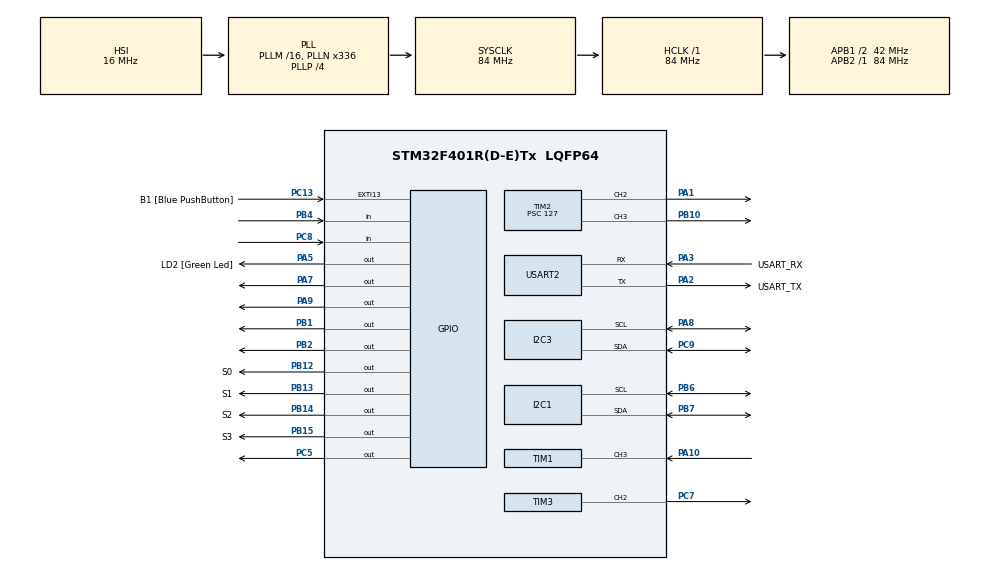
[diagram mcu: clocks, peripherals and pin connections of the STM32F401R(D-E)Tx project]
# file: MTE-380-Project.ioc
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I2C1.I2C_Mode=I2C_Standard
Mcu.Family=STM32F4
Mcu.Name=STM32F401R(D-E)Tx
Mcu.Package=LQFP64
NVIC.PriorityGroup=NVIC_PRIORITYGROUP_0
PA1.Signal=S_TIM2_CH2
PA10.Signal=S_TIM1_CH3
PA13.GPIO_Label=TMS
PA13.Mode=Serial_Wire
PA13.Signal=SYS_JTMS-SWDIO
PA14.GPIO_Label=TCK
PA14.Mode=Serial_Wire
PA14.Signal=SYS_JTCK-SWCLK
PA2.GPIO_Label=USART_TX
PA2.GPIO_Mode=GPIO_MODE_AF_PP
PA2.GPIO_PuPd=GPIO_NOPULL
PA2.GPIO_Speed=GPIO_SPEED_FREQ_LOW
PA2.Mode=Asynchronous
PA2.Signal=USART2_TX
PA3.GPIO_Label=USART_RX
PA3.GPIO_Mode=GPIO_MODE_AF_PP
PA3.GPIO_PuPd=GPIO_NOPULL
PA3.GPIO_Speed=GPIO_SPEED_FREQ_LOW
PA3.Mode=Asynchronous
PA3.Signal=USART2_RX
PA5.GPIO_Label=LD2 [Green Led]
PA5.GPIO_Mode=GPIO_MODE_OUTPUT_PP
PA5.GPIO_PuPd=GPIO_NOPULL
PA5.GPIO_Speed=GPIO_SPEED_FREQ_LOW
PA5.Signal=GPIO_Output
PA7.Signal=GPIO_Output
PA8.Mode=I2C
PA8.Signal=I2C3_SCL
PA9.Signal=GPIO_Output
PB1.Signal=GPIO_Output
PB10.Signal=S_TIM2_CH3
PB12.GPIO_Label=S0
PB12.Signal=GPIO_Output
PB13.GPIO_Label=S1
PB13.Signal=GPIO_Output
PB14.GPIO_Label=S2
PB14.Signal=GPIO_Output
PB15.GPIO_Label=S3
PB15.Signal=GPIO_Output
PB2.Signal=GPIO_Output
PB3.GPIO_Label=SWO
PB3.Signal=SYS_JTDO-SWO
PB4.Signal=GPIO_Input
PB6.Mode=I2C
PB6.Signal=I2C1_SCL
PB7.Mode=I2C
PB7.Signal=I2C1_SDA
PC13-ANTI_TAMP.GPIO_Label=B1 [Blue PushButton]
PC13-ANTI_TAMP.GPIO_ModeDefaultEXTI=GPIO_MODE_IT_FALLING
PC13-ANTI_TAMP.GPIO_PuPd=GPIO_NOPULL
PC13-ANTI_TAMP.Signal=GPXTI13
PC14-OSC32_IN.Mode=LSE-External-Oscillator
PC14-OSC32_IN.Signal=RCC_OSC32_IN
PC15-OSC32_OUT.Mode=LSE-External-Oscillator
PC15-OSC32_OUT.Signal=RCC_OSC32_OUT
PC5.Signal=GPIO_Output
PC7.Signal=S_TIM3_CH2
PC8.Signal=GPIO_Input
PC9.Mode=I2C
PC9.Signal=I2C3_SDA
PH0\ -\ OSC_IN.Mode=HSE-External-Clock-Source
PH0\ -\ OSC_IN.Signal=RCC_OSC_IN
PH1\ -\ OSC_OUT.Mode=HSE-External-Clock-Source
PH1\ -\ OSC_OUT.Signal=RCC_OSC_OUT
ProjectManager.HeapSize=0x200
ProjectManager.StackSize=0x400
ProjectManager.TargetToolchain=STM32CubeIDE
RCC.48MHZClocksFreq_Value=48000000
RCC.AHBFreq_Value=84000000
RCC.APB1CLKDivider=RCC_HCLK_DIV2
RCC.APB1Freq_Value=42000000
RCC.APB1TimFreq_Value=84000000
RCC.APB2Freq_Value=84000000
RCC.APB2TimFreq_Value=84000000
RCC.CortexFreq_Value=84000000
RCC.HCLKFreq_Value=84000000
RCC.HSE_VALUE=8000000
RCC.HSI_VALUE=16000000
RCC.PLLN=336
RCC.PLLP=RCC_PLLP_DIV4
RCC.PLLQ=7
RCC.SYSCLKFreq_VALUE=84000000
RCC.SYSCLKSource=RCC_SYSCLKSOURCE_PLLCLK
RCC.VCOOutputFreq_Value=336000000
SH.S_TIM1_CH3.0=TIM1_CH3,Input_Capture3_from_TI3
SH.S_TIM2_CH2.0=TIM2_CH2,PWM Generation2 CH2
SH.S_TIM2_CH3.0=TIM2_CH3,PWM Generation3 CH3
SH.S_TIM3_CH2.0=TIM3_CH2,PWM Generation2 CH2
TIM1.Channel-Input_Capture3_from_TI3=TIM_CHANNEL_3
TIM2.Channel-PWM\ Generation2\ CH2=TIM_CHANNEL_2
TIM2.Channel-PWM\ Generation3\ CH3=TIM_CHANNEL_3
TIM2.Period=625
TIM2.Prescaler=127
TIM3.Channel-PWM\ Generation2\ CH2=TIM_CHANNEL_2
TIM3.Period=19999
TIM3.Prescaler=83
TIM4.Prescaler=71
USART2.VirtualMode=VM_ASYNC
VP_TIM1_VS_ClockSourceITR.Mode=TriggerSource_ITR1
VP_TIM1_VS_ControllerModeClock.Mode=Clock Mode
VP_TIM4_VS_ClockSourceINT.Mode=Internal
board=NUCLEO-F401RE

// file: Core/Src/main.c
/* USER CODE BEGIN Header */
/**
  ******************************************************************************
  * @file           : main.c
  * @brief          : Main program body
  ******************************************************************************
  * @attention
  *
  * Copyright (c) 2023 STMicroelectronics.
  * All rights reserved.
  *
  * This software is licensed under terms that can be found in the LICENSE file
  * in the root directory of this software component.
  * If no LICENSE file comes with this software, it is provided AS-IS.
  *
  ******************************************************************************
  */
/* USER CODE END Header */
#include "main.h"

/* USER CODE BEGIN Includes */
#include "main.h"

#include "TCS34725.h"
#include "L298N.h"
#include "SG90.h"
#include "HCSR04.h"
// Define P controller constant
#define KP 3
#define KD 15
#define KI 0.02
// Define target values

#define TARGET_SPEED_LEFT 40 // Default: 45   RATIO is 12
#define TARGET_SPEED_RIGHT 48 // Default: 53

int target_speed_left = 40;
int target_speed_right = 48;

int control_signal = 0;
int count = 0;
float error = 0;
int left_speed = 0, right_speed = 0;
int slowed = 0;
uint32_t diff = 0;
/* USER CODE END Includes */

I2C_HandleTypeDef hi2c1;
I2C_HandleTypeDef hi2c3;

TIM_HandleTypeDef htim1;
TIM_HandleTypeDef htim2;
TIM_HandleTypeDef htim3;
TIM_HandleTypeDef htim4;

UART_HandleTypeDef huart2;

/* USER CODE BEGIN PV */

PID_Controller_HandleTypeDef pid;
PID_Controller_HandleTypeDef pid2;

TCS34725_HandleTypeDef rgb_sensor_left;
TCS34725_HandleTypeDef rgb_sensor_right;

L298N_HandleTypeDef motor_driver;

SG90_HandleTypeDef gripper_servo;

HCSR04_HandleTypeDef ultrasonic_sensor;

/* USER CODE END PV */

void SystemClock_Config(void);
static void MX_GPIO_Init(void);
static void MX_USART2_UART_Init(void);
static void MX_TIM1_Init(void);
static void MX_I2C1_Init(void);
static void MX_I2C3_Init(void);
static void MX_TIM2_Init(void);
static void MX_TIM3_Init(void);
static void MX_TIM4_Init(void);

/* USER CODE BEGIN 0 */

float getError() {

	HAL_StatusTypeDef status1 = tcs34725_get_data(&rgb_sensor_left, &hi2c1);
    HAL_StatusTypeDef status2 = tcs34725_get_data(&rgb_sensor_right, &hi2c3);

	if (status1 != HAL_OK || status2 != HAL_OK) {
		HAL_GPIO_WritePin(GPIOA, LD2_Pin, GPIO_PIN_SET);
	}

    // Calculate the error based on the difference between sensor readings
    error = (rgb_sensor_left.r_ratio - rgb_sensor_right.r_ratio) * 100;

    return error;
}

void PID_Controller(PID_Controller_HandleTypeDef *pid) {
    // Get the proportional error
    float error = getError();

    // Calculate the control signal
    float proportional = KP * error;
    float integral = KI * (error + pid->integral);
    float derivative = KD * (error - pid->previous_error);

    // Calculate control signal
    control_signal = (int)(proportional + derivative + integral);

    // Update PID values for next iteration
    pid->previous_error = error;
    pid->integral += error;

    count++;

    if(count > 10) {
    	pid->integral = 0;
    	count = 0;
    }

    // Adjust motor speeds based on control signal

    // Line is to the right, turn left
    left_speed = target_speed_left - control_signal;
    right_speed = target_speed_right + control_signal;

    if (left_speed > 100) {
    	left_speed = 100;
    }

    if (left_speed < 0) {
    	left_speed = 0;
    }

    if (right_speed > 100) {
    	right_speed = 100;
    }

    if (right_speed < 0) {
    	right_speed = 0;
    }

    // Apply control to motors
    l298n_drive_forward(&motor_driver, &htim2, left_speed, right_speed);

}

// what if we add another function same as PID so when that starts that runs and that has a timer which will open the gripper when haltick matches our req.

/* USER CODE END 0 */

int main(void)
{

  /* MCU Configuration--------------------------------------------------------*/

  /* Reset of all peripherals, Initializes the Flash interface and the Systick. */
  HAL_Init();

  /* Configure the system clock */
  SystemClock_Config();

  /* Initialize all configured peripherals */
  MX_GPIO_Init();
  MX_USART2_UART_Init();
  MX_TIM1_Init();
  MX_I2C1_Init();
  MX_I2C3_Init();
  MX_TIM2_Init();
  MX_TIM3_Init();
  MX_TIM4_Init();
  /* USER CODE BEGIN 2 */

  tcs34725_get_device_id(&rgb_sensor_left, &hi2c1);
  tcs34725_get_device_id(&rgb_sensor_right, &hi2c3);

  tcs34725_set_enable_reg(&rgb_sensor_left, &hi2c1);
  tcs34725_set_enable_reg(&rgb_sensor_right, &hi2c3);

  tcs34725_set_timing_reg(&rgb_sensor_left, &hi2c1);
  tcs34725_set_timing_reg(&rgb_sensor_right, &hi2c3);

  l298n_init(&htim2);

  sg90_init(&htim3);

  hcsr04_init(&htim4);

  /* USER CODE END 2 */

  /* Infinite loop */
  /* USER CODE BEGIN WHILE */

  while(HAL_GPIO_ReadPin(GPIOC, B1_Pin));

  sg90_open(&gripper_servo, &htim3);

  HAL_Delay(1000);

  uint32_t start_time = HAL_GetTick();

  l298n_drive_forward(&motor_driver, &htim2, 100, 100);

  while (1)
  {

	  PID_Controller(&pid);

	  if (HAL_GetTick() - start_time > 7000 && slowed == 0) {

		  target_speed_left = 33;
		  target_speed_right = 40;

		  slowed = 1;
	  }

	  if ((rgb_sensor_left.b_ratio > rgb_sensor_left.g_ratio || rgb_sensor_right.b_ratio > rgb_sensor_right.g_ratio) && (rgb_sensor_left.b_ratio > rgb_sensor_left.r_ratio || rgb_sensor_right.b_ratio > rgb_sensor_right.r_ratio)) {

		  l298n_brake(&motor_driver);
		  HAL_Delay(10);

		  //First reverse after detecting blue
		  l298n_drive_reverse(&motor_driver, &htim2, 100, 100);
		  HAL_Delay(30);

		  l298n_drive_reverse(&motor_driver, &htim2, TARGET_SPEED_LEFT, TARGET_SPEED_RIGHT);
		  HAL_Delay(550);

		  l298n_brake(&motor_driver);
		  HAL_Delay(10);

		  hcsr04_get_distance(&ultrasonic_sensor, &htim3);

		  int counter = 0;

		  // 17 or 18 depending on your mood

		  while(!(ultrasonic_sensor.distance >= WALL_TURN_DISTANCE_MIN &&
				  ultrasonic_sensor.distance <= WALL_TURN_DISTANCE_MAX && counter >= 18)){

			  l298n_rotate_counter(&motor_driver, &htim2, 100, 100);
		      HAL_Delay(30);

		      l298n_rotate_counter(&motor_driver, &htim2, 40, 48);
		      HAL_Delay(50);

		      l298n_brake(&motor_driver);
		      HAL_Delay(250);

		      counter += 1;

			  hcsr04_get_distance(&ultrasonic_sensor, &htim3);

		  }

		  l298n_brake(&motor_driver);

		  HAL_Delay(10);

		  while (ultrasonic_sensor.distance > 21) {

			  l298n_drive_reverse(&motor_driver, &htim2, 100, 100);
			  HAL_Delay(30);

			  l298n_drive_reverse(&motor_driver, &htim2, 40, 48);
			  HAL_Delay(50);

			  l298n_brake(&motor_driver);
			  HAL_Delay(250);

			  hcsr04_get_distance(&ultrasonic_sensor, &htim3);
		  }

		  l298n_brake(&motor_driver);

		  HAL_Delay(10);

		  sg90_close(&gripper_servo, &htim3);

		  HAL_Delay(10);

		  l298n_drive_forward(&motor_driver, &htim2, 100, 100);
		  HAL_Delay(30);

		  l298n_drive_forward(&motor_driver, &htim2, 40, 48);
		  HAL_Delay(430);

		  l298n_brake(&motor_driver);

		  for (int i = 0; i < 10; i++) {

			  l298n_rotate_counter(&motor_driver, &htim2, 100, 100);
			  HAL_Delay(30);

			  l298n_rotate_counter(&motor_driver, &htim2, 40, 48);
			  HAL_Delay(50);

			  l298n_brake(&motor_driver);
			  HAL_Delay(250);
		  }

		  l298n_drive_reverse(&motor_driver, &htim2, 100, 100);
		  HAL_Delay(30);

		  l298n_drive_reverse(&motor_driver, &htim2, 40, 48);
		  HAL_Delay(800);

		  l298n_brake(&motor_driver);

		  HAL_Delay(10);

		  sg90_open(&gripper_servo, &htim3);

		  HAL_Delay(100);

		  l298n_drive_forward(&motor_driver, &htim2, 100, 100);
		  HAL_Delay(50);

		  l298n_drive_forward(&motor_driver, &htim2, 40, 48);
		  HAL_Delay(700);

//		  while (!(rgb_sensor_left.r_ratio > 0.45 || rgb_sensor_right.r_ratio > 0.45)) {
//
//			  tcs34725_get_data(&rgb_sensor_left, &hi2c1);
//			  tcs34725_get_data(&rgb_sensor_right, &hi2c3);
//		  }

		  l298n_brake(&motor_driver);

		  HAL_Delay(200);

		  l298n_rotate_clockwise(&motor_driver, &htim2, 100, 100);
		  HAL_Delay(30);

		  l298n_rotate_clockwise(&motor_driver, &htim2, 40, 48);
		  HAL_Delay(150);

		  l298n_brake(&motor_driver);

		  HAL_Delay(500);

		  target_speed_left = 40;
		  target_speed_right = 48;

		  continue;

//		  l298n_brake(&motor_driver);
//
//		  HAL_Delay(300);
//
//		  //first reverse after detecting blue
//
//		  l298n_drive_reverse(&motor_driver, &htim2, 100, 100);
//
//		  HAL_Delay(30);
//
//		  l298n_drive_reverse(&motor_driver, &htim2, 33, 40);
//
//		  HAL_Delay(1500);
//
//		  l298n_brake(&motor_driver);
//
//		  HAL_Delay(150);
//
//		  //180 degree turn
//
//		  l298n_rotate_counter(&motor_driver, &htim2, 100, 100);
//
//		  HAL_Delay(30);
//
//		  l298n_rotate_counter(&motor_driver, &htim2, 33, 40);
//
//		  HAL_Delay(2050);
//
//		  l298n_brake(&motor_driver);
//
//		  l298n_drive_reverse(&motor_driver, &htim2, 33, 40);
//
//		  HAL_Delay(800);
//
//		  l298n_brake(&motor_driver);
//
//		  HAL_Delay(100);
//
//		  //Pickup
//
//		  sg90_close(&gripper_servo, &htim3);
//
//		  HAL_Delay(150);
//
//		  return 0;

		  //Rotate towards Green Box
//
//		  l298n_rotate_counter(&motor_driver, &htim2, 100, 100);
//
//		  HAL_Delay(30);
//
//		  l298n_rotate_counter(&motor_driver, &htim2, 33, 40);
//
//		  HAL_Delay(1800);
//
//		  l298n_brake(&motor_driver);
//
//		  HAL_Delay(100);
//
//		  //Reverse to Green box
//
//		  l298n_drive_reverse(&motor_driver, &htim2, 100, 100);
//
//		  HAL_Delay(30);
//
//		  l298n_drive_reverse(&motor_driver, &htim2, 33, 40);
//
//		  HAL_Delay(2000);
//
//		  l298n_brake(&motor_driver);
//
//		  HAL_Delay(100);
//
//		  //drop off
//
//		  sg90_open(&gripper_servo, &htim3);
//
//		  HAL_Delay(1000);
//
//		  //turn back towards red line
//
//		  l298n_rotate_clockwise(&motor_driver, &htim2, 100, 100);
//
//		  HAL_Delay(30);
//
//		  l298n_rotate_clockwise(&motor_driver, &htim2, 33, 40);
//
//		  HAL_Delay(1200);
//
//		  l298n_brake(&motor_driver);
//
//		  HAL_Delay(50);
//
//		  //Drive to the red line
//
//		  l298n_drive_forward(&motor_driver, &htim2, 100, 100);
//
//		  HAL_Delay(30);
//
//		  l298n_drive_forward(&motor_driver, &htim2, 33, 40);
//
//		  HAL_Delay(2000);
//
//		  l298n_brake(&motor_driver);
//
//		  HAL_Delay(1000);
//
//		  continue;

//		  return 0;
	  }

    /* USER CODE END WHILE */

  }
}

void SystemClock_Config(void)
{
  RCC_OscInitTypeDef RCC_OscInitStruct = {0};
  RCC_ClkInitTypeDef RCC_ClkInitStruct = {0};

  /** Configure the main internal regulator output voltage
  */
  __HAL_RCC_PWR_CLK_ENABLE();
  __HAL_PWR_VOLTAGESCALING_CONFIG(PWR_REGULATOR_VOLTAGE_SCALE2);

  /** Initializes the RCC Oscillators according to the specified parameters
  * in the RCC_OscInitTypeDef structure.
  */
  RCC_OscInitStruct.OscillatorType = RCC_OSCILLATORTYPE_HSI;
  RCC_OscInitStruct.HSIState = RCC_HSI_ON;
  RCC_OscInitStruct.HSICalibrationValue = RCC_HSICALIBRATION_DEFAULT;
  RCC_OscInitStruct.PLL.PLLState = RCC_PLL_ON;
  RCC_OscInitStruct.PLL.PLLSource = RCC_PLLSOURCE_HSI;
  RCC_OscInitStruct.PLL.PLLM = 16;
  RCC_OscInitStruct.PLL.PLLN = 336;
  RCC_OscInitStruct.PLL.PLLP = RCC_PLLP_DIV4;
  RCC_OscInitStruct.PLL.PLLQ = 7;
  if (HAL_RCC_OscConfig(&RCC_OscInitStruct) != HAL_OK)
  {
    Error_Handler();
  }

  /** Initializes the CPU, AHB and APB buses clocks
  */
  RCC_ClkInitStruct.ClockType = RCC_CLOCKTYPE_HCLK|RCC_CLOCKTYPE_SYSCLK
                              |RCC_CLOCKTYPE_PCLK1|RCC_CLOCKTYPE_PCLK2;
  RCC_ClkInitStruct.SYSCLKSource = RCC_SYSCLKSOURCE_PLLCLK;
  RCC_ClkInitStruct.AHBCLKDivider = RCC_SYSCLK_DIV1;
  RCC_ClkInitStruct.APB1CLKDivider = RCC_HCLK_DIV2;
  RCC_ClkInitStruct.APB2CLKDivider = RCC_HCLK_DIV1;

  if (HAL_RCC_ClockConfig(&RCC_ClkInitStruct, FLASH_LATENCY_2) != HAL_OK)
  {
    Error_Handler();
  }
}

static void MX_I2C1_Init(void)
{

  hi2c1.Instance = I2C1;
  hi2c1.Init.ClockSpeed = 100000;
  hi2c1.Init.DutyCycle = I2C_DUTYCYCLE_2;
  hi2c1.Init.OwnAddress1 = 0;
  hi2c1.Init.AddressingMode = I2C_ADDRESSINGMODE_7BIT;
  hi2c1.Init.DualAddressMode = I2C_DUALADDRESS_DISABLE;
  hi2c1.Init.OwnAddress2 = 0;
  hi2c1.Init.GeneralCallMode = I2C_GENERALCALL_DISABLE;
  hi2c1.Init.NoStretchMode = I2C_NOSTRETCH_DISABLE;
  if (HAL_I2C_Init(&hi2c1) != HAL_OK)
  {
    Error_Handler();
  }

}

static void MX_I2C3_Init(void)
{

  hi2c3.Instance = I2C3;
  hi2c3.Init.ClockSpeed = 100000;
  hi2c3.Init.DutyCycle = I2C_DUTYCYCLE_2;
  hi2c3.Init.OwnAddress1 = 0;
  hi2c3.Init.AddressingMode = I2C_ADDRESSINGMODE_7BIT;
  hi2c3.Init.DualAddressMode = I2C_DUALADDRESS_DISABLE;
  hi2c3.Init.OwnAddress2 = 0;
  hi2c3.Init.GeneralCallMode = I2C_GENERALCALL_DISABLE;
  hi2c3.Init.NoStretchMode = I2C_NOSTRETCH_DISABLE;
  if (HAL_I2C_Init(&hi2c3) != HAL_OK)
  {
    Error_Handler();
  }

}

static void MX_TIM1_Init(void)
{

  TIM_SlaveConfigTypeDef sSlaveConfig = {0};
  TIM_MasterConfigTypeDef sMasterConfig = {0};
  TIM_IC_InitTypeDef sConfigIC = {0};

  htim1.Instance = TIM1;
  htim1.Init.Prescaler = 0;
  htim1.Init.CounterMode = TIM_COUNTERMODE_UP;
  htim1.Init.Period = 65535;
  htim1.Init.ClockDivision = TIM_CLOCKDIVISION_DIV1;
  htim1.Init.RepetitionCounter = 0;
  htim1.Init.AutoReloadPreload = TIM_AUTORELOAD_PRELOAD_DISABLE;
  if (HAL_TIM_Base_Init(&htim1) != HAL_OK)
  {
    Error_Handler();
  }
  if (HAL_TIM_IC_Init(&htim1) != HAL_OK)
  {
    Error_Handler();
  }
  sSlaveConfig.SlaveMode = TIM_SLAVEMODE_EXTERNAL1;
  sSlaveConfig.InputTrigger = TIM_TS_ITR1;
  if (HAL_TIM_SlaveConfigSynchro(&htim1, &sSlaveConfig) != HAL_OK)
  {
    Error_Handler();
  }
  sMasterConfig.MasterOutputTrigger = TIM_TRGO_RESET;
  sMasterConfig.MasterSlaveMode = TIM_MASTERSLAVEMODE_DISABLE;
  if (HAL_TIMEx_MasterConfigSynchronization(&htim1, &sMasterConfig) != HAL_OK)
  {
    Error_Handler();
  }
  sConfigIC.ICPolarity = TIM_INPUTCHANNELPOLARITY_RISING;
  sConfigIC.ICSelection = TIM_ICSELECTION_DIRECTTI;
  sConfigIC.ICPrescaler = TIM_ICPSC_DIV1;
  sConfigIC.ICFilter = 0;
  if (HAL_TIM_IC_ConfigChannel(&htim1, &sConfigIC, TIM_CHANNEL_3) != HAL_OK)
  {
    Error_Handler();
  }

}

static void MX_TIM2_Init(void)
{

  TIM_MasterConfigTypeDef sMasterConfig = {0};
  TIM_OC_InitTypeDef sConfigOC = {0};

  htim2.Instance = TIM2;
  htim2.Init.Prescaler = 127;
  htim2.Init.CounterMode = TIM_COUNTERMODE_UP;
  htim2.Init.Period = 625;
  htim2.Init.ClockDivision = TIM_CLOCKDIVISION_DIV1;
  htim2.Init.AutoReloadPreload = TIM_AUTORELOAD_PRELOAD_DISABLE;
  if (HAL_TIM_PWM_Init(&htim2) != HAL_OK)
  {
    Error_Handler();
  }
  sMasterConfig.MasterOutputTrigger = TIM_TRGO_RESET;
  sMasterConfig.MasterSlaveMode = TIM_MASTERSLAVEMODE_DISABLE;
  if (HAL_TIMEx_MasterConfigSynchronization(&htim2, &sMasterConfig) != HAL_OK)
  {
    Error_Handler();
  }
  sConfigOC.OCMode = TIM_OCMODE_PWM1;
  sConfigOC.Pulse = 0;
  sConfigOC.OCPolarity = TIM_OCPOLARITY_HIGH;
  sConfigOC.OCFastMode = TIM_OCFAST_DISABLE;
  if (HAL_TIM_PWM_ConfigChannel(&htim2, &sConfigOC, TIM_CHANNEL_2) != HAL_OK)
  {
    Error_Handler();
  }
  if (HAL_TIM_PWM_ConfigChannel(&htim2, &sConfigOC, TIM_CHANNEL_3) != HAL_OK)
  {
    Error_Handler();
  }
  HAL_TIM_MspPostInit(&htim2);

}

static void MX_TIM3_Init(void)
{

  TIM_MasterConfigTypeDef sMasterConfig = {0};
  TIM_OC_InitTypeDef sConfigOC = {0};

  htim3.Instance = TIM3;
  htim3.Init.Prescaler = 83;
  htim3.Init.CounterMode = TIM_COUNTERMODE_UP;
  htim3.Init.Period = 19999;
  htim3.Init.ClockDivision = TIM_CLOCKDIVISION_DIV1;
  htim3.Init.AutoReloadPreload = TIM_AUTORELOAD_PRELOAD_DISABLE;
  if (HAL_TIM_PWM_Init(&htim3) != HAL_OK)
  {
    Error_Handler();
  }
  sMasterConfig.MasterOutputTrigger = TIM_TRGO_RESET;
  sMasterConfig.MasterSlaveMode = TIM_MASTERSLAVEMODE_DISABLE;
  if (HAL_TIMEx_MasterConfigSynchronization(&htim3, &sMasterConfig) != HAL_OK)
  {
    Error_Handler();
  }
  sConfigOC.OCMode = TIM_OCMODE_PWM1;
  sConfigOC.Pulse = 0;
  sConfigOC.OCPolarity = TIM_OCPOLARITY_HIGH;
  sConfigOC.OCFastMode = TIM_OCFAST_DISABLE;
  if (HAL_TIM_PWM_ConfigChannel(&htim3, &sConfigOC, TIM_CHANNEL_2) != HAL_OK)
  {
    Error_Handler();
  }
  HAL_TIM_MspPostInit(&htim3);

}

static void MX_TIM4_Init(void)
{

  TIM_ClockConfigTypeDef sClockSourceConfig = {0};
  TIM_MasterConfigTypeDef sMasterConfig = {0};

  htim4.Instance = TIM4;
  htim4.Init.Prescaler = 71;
  htim4.Init.CounterMode = TIM_COUNTERMODE_UP;
  htim4.Init.Period = 65535;
  htim4.Init.ClockDivision = TIM_CLOCKDIVISION_DIV1;
  htim4.Init.AutoReloadPreload = TIM_AUTORELOAD_PRELOAD_DISABLE;
  if (HAL_TIM_Base_Init(&htim4) != HAL_OK)
  {
    Error_Handler();
  }
  sClockSourceConfig.ClockSource = TIM_CLOCKSOURCE_INTERNAL;
  if (HAL_TIM_ConfigClockSource(&htim4, &sClockSourceConfig) != HAL_OK)
  {
    Error_Handler();
  }
  sMasterConfig.MasterOutputTrigger = TIM_TRGO_RESET;
  sMasterConfig.MasterSlaveMode = TIM_MASTERSLAVEMODE_DISABLE;
  if (HAL_TIMEx_MasterConfigSynchronization(&htim4, &sMasterConfig) != HAL_OK)
  {
    Error_Handler();
  }

}

static void MX_USART2_UART_Init(void)
{

  huart2.Instance = USART2;
  huart2.Init.BaudRate = 115200;
  huart2.Init.WordLength = UART_WORDLENGTH_8B;
  huart2.Init.StopBits = UART_STOPBITS_1;
  huart2.Init.Parity = UART_PARITY_NONE;
  huart2.Init.Mode = UART_MODE_TX_RX;
  huart2.Init.HwFlowCtl = UART_HWCONTROL_NONE;
  huart2.Init.OverSampling = UART_OVERSAMPLING_16;
  if (HAL_UART_Init(&huart2) != HAL_OK)
  {
    Error_Handler();
  }

}

static void MX_GPIO_Init(void)
{
  GPIO_InitTypeDef GPIO_InitStruct = {0};

  /* GPIO Ports Clock Enable */
  __HAL_RCC_GPIOC_CLK_ENABLE();
  __HAL_RCC_GPIOH_CLK_ENABLE();
  __HAL_RCC_GPIOA_CLK_ENABLE();
  __HAL_RCC_GPIOB_CLK_ENABLE();

  /*Configure GPIO pin Output Level */
  HAL_GPIO_WritePin(GPIOA, LD2_Pin|GPIO_PIN_7|GPIO_PIN_9, GPIO_PIN_RESET);

  /*Configure GPIO pin Output Level */
  HAL_GPIO_WritePin(GPIOC, GPIO_PIN_5, GPIO_PIN_RESET);

  /*Configure GPIO pin Output Level */
  HAL_GPIO_WritePin(GPIOB, GPIO_PIN_1|GPIO_PIN_2|S0_Pin|S1_Pin
                          |S2_Pin|S3_Pin, GPIO_PIN_RESET);

  /*Configure GPIO pin : B1_Pin */
  GPIO_InitStruct.Pin = B1_Pin;
  GPIO_InitStruct.Mode = GPIO_MODE_IT_FALLING;
  GPIO_InitStruct.Pull = GPIO_NOPULL;
  HAL_GPIO_Init(B1_GPIO_Port, &GPIO_InitStruct);

  /*Configure GPIO pins : LD2_Pin PA7 PA9 */
  GPIO_InitStruct.Pin = LD2_Pin|GPIO_PIN_7|GPIO_PIN_9;
  GPIO_InitStruct.Mode = GPIO_MODE_OUTPUT_PP;
  GPIO_InitStruct.Pull = GPIO_NOPULL;
  GPIO_InitStruct.Speed = GPIO_SPEED_FREQ_LOW;
  HAL_GPIO_Init(GPIOA, &GPIO_InitStruct);

  /*Configure GPIO pin : PC5 */
  GPIO_InitStruct.Pin = GPIO_PIN_5;
  GPIO_InitStruct.Mode = GPIO_MODE_OUTPUT_PP;
  GPIO_InitStruct.Pull = GPIO_NOPULL;
  GPIO_InitStruct.Speed = GPIO_SPEED_FREQ_LOW;
  HAL_GPIO_Init(GPIOC, &GPIO_InitStruct);

  /*Configure GPIO pins : PB1 PB2 S0_Pin S1_Pin
                           S2_Pin S3_Pin */
  GPIO_InitStruct.Pin = GPIO_PIN_1|GPIO_PIN_2|S0_Pin|S1_Pin
                          |S2_Pin|S3_Pin;
  GPIO_InitStruct.Mode = GPIO_MODE_OUTPUT_PP;
  GPIO_InitStruct.Pull = GPIO_NOPULL;
  GPIO_InitStruct.Speed = GPIO_SPEED_FREQ_LOW;
  HAL_GPIO_Init(GPIOB, &GPIO_InitStruct);

  /*Configure GPIO pin : PC8 */
  GPIO_InitStruct.Pin = GPIO_PIN_8;
  GPIO_InitStruct.Mode = GPIO_MODE_INPUT;
  GPIO_InitStruct.Pull = GPIO_NOPULL;
  HAL_GPIO_Init(GPIOC, &GPIO_InitStruct);

  /*Configure GPIO pin : PB4 */
  GPIO_InitStruct.Pin = GPIO_PIN_4;
  GPIO_InitStruct.Mode = GPIO_MODE_INPUT;
  GPIO_InitStruct.Pull = GPIO_NOPULL;
  HAL_GPIO_Init(GPIOB, &GPIO_InitStruct);

}

void Error_Handler(void)
{
  __disable_irq();
  while (1)
  {
  }
}
